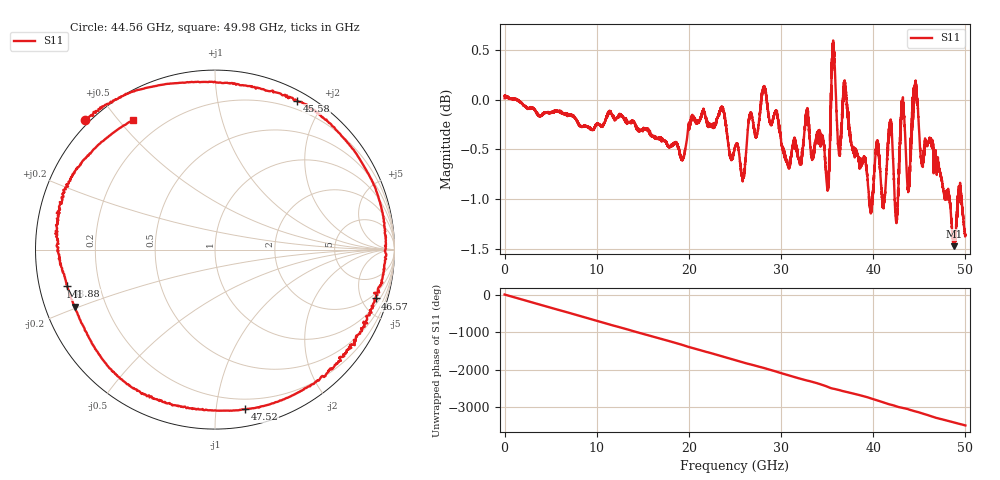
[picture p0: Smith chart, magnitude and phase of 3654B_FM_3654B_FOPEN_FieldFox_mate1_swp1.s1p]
!Created with skrf (http://scikit-rf.org).
# Hz S RI R 50.0
!freq ReS11 ImS11
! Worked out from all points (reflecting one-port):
!   10001 points, 300 kHz to 50 GHz, reference 50 ohm
!   lowest |S11| = -1.5 dB at 48.76 GHz (marker M1), VSWR 11.82, Z = 4.39 - j9.71 ohm
!   phase of S11 starts at 0 deg and turns -3479 deg over the sweep
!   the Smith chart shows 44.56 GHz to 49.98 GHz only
!   S11 on the Smith chart (normalised r, x): 44.56 GHz: -0.01, +0.41; 45.58 GHz: 0.11, +1.69; 46.57 GHz: 1.48, -6.38; 47.52 GHz: 0.12, -1.20; 48.88 GHz: 0.08, -0.12; 49.98 GHz: 0.10, +0.54
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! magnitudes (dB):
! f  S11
! 300 kHz  0.0
! 6.25 GHz  -0.1
! 12.5 GHz  -0.1
! 18.75 GHz  -0.4
! 25 GHz  -0.5
! 25.89 GHz  -0.8
! 28.16 GHz  0.1
! 31.25 GHz  -0.5
! 35.04 GHz  -0.9
! 35.7 GHz  0.5
! 36.27 GHz  -0.5
! 36.91 GHz  0.2
! 37.5 GHz  -0.4
! 39.73 GHz  -1.0
! 40.43 GHz  -0.5
! 41.16 GHz  -1.0
! 41.87 GHz  -0.2
! 42.52 GHz  -1.2
! 43.2 GHz  -0.1
! 43.75 GHz  -0.9
! 44.56 GHz  0.2
! 45.58 GHz  -0.5
! 46.57 GHz  -0.6
! 47.52 GHz  -0.9
! 48.76 GHz  -1.5
! 48.88 GHz  -1.4
! 49.98 GHz  -1.4
! 50 GHz  -1.4
